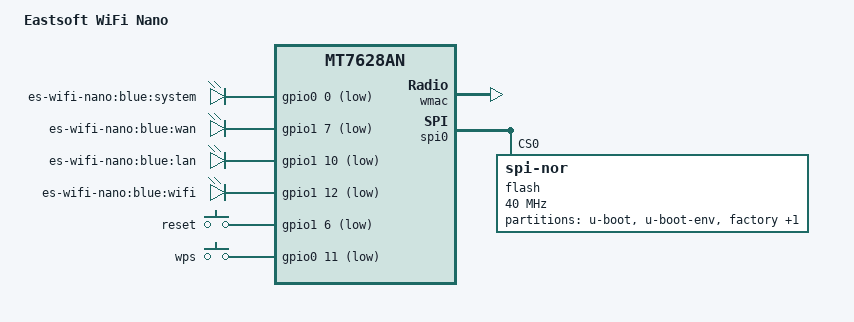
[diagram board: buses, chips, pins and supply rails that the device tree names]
/dts-v1/;

#include "mt7628an.dtsi"

#include <dt-bindings/gpio/gpio.h>
#include <dt-bindings/input/input.h>

/ {
	compatible = "eastsoft,es-wifi-nano", "mediatek,mt7628an-soc";
	model = "Eastsoft WiFi Nano";

	aliases {
		led-boot = &led_system;
		led-failsafe = &led_system;
		led-running = &led_system;
		led-upgrade = &led_system;
	};

	chosen {
		bootargs = "console=ttyS0,115200";
	};

	leds {
		compatible = "gpio-leds";

		led_system: system {
			label = "es-wifi-nano:blue:system";
			gpios = <&gpio0 0 GPIO_ACTIVE_LOW>;
		};

		wan {
			label = "es-wifi-nano:blue:wan";
			gpios = <&gpio1 7 GPIO_ACTIVE_LOW>;
		};

		lan {
			label = "es-wifi-nano:blue:lan";
			gpios = <&gpio1 10 GPIO_ACTIVE_LOW>;
		};

		wifi {
			label = "es-wifi-nano:blue:wifi";
			gpios = <&gpio1 12 GPIO_ACTIVE_LOW>;
		};
	};

	keys {
		compatible = "gpio-keys";

		reset {
			label = "reset";
			gpios = <&gpio1 6 GPIO_ACTIVE_LOW>;
			linux,code = <KEY_RESTART>;
		};

		wps {
			label = "wps";
			gpios = <&gpio0 11 GPIO_ACTIVE_LOW>;
			linux,code = <KEY_WPS_BUTTON>;
		};
	};
};

&state_default {
	gpio {
		ralink,group = "i2s", "gpio", "wdt", "p1led_an", "p4led_an", "wled_an";
		ralink,function = "gpio";
	};
};

&wmac {
	status = "okay";
};

&ethernet {
	mtd-mac-address = <&factory 0x28>;
};

&spi0 {
	status = "okay";

	flash@0 {
		compatible = "jedec,spi-nor";
		reg = <0>;
		spi-max-frequency = <40000000>;

		partitions {
			compatible = "fixed-partitions";
			#address-cells = <1>;
			#size-cells = <1>;

			partition@0 {
				label = "u-boot";
				reg = <0x0 0x30000>;
				read-only;
			};

			partition@30000 {
				label = "u-boot-env";
				reg = <0x30000 0x10000>;
			};

			factory: partition@40000 {
				label = "factory";
				reg = <0x40000 0x10000>;
				read-only;
			};

			partition@50000 {
				compatible = "denx,uimage";
				label = "firmware";
				reg = <0x50000 0xfb0000>;
			};
		};
	};
};
